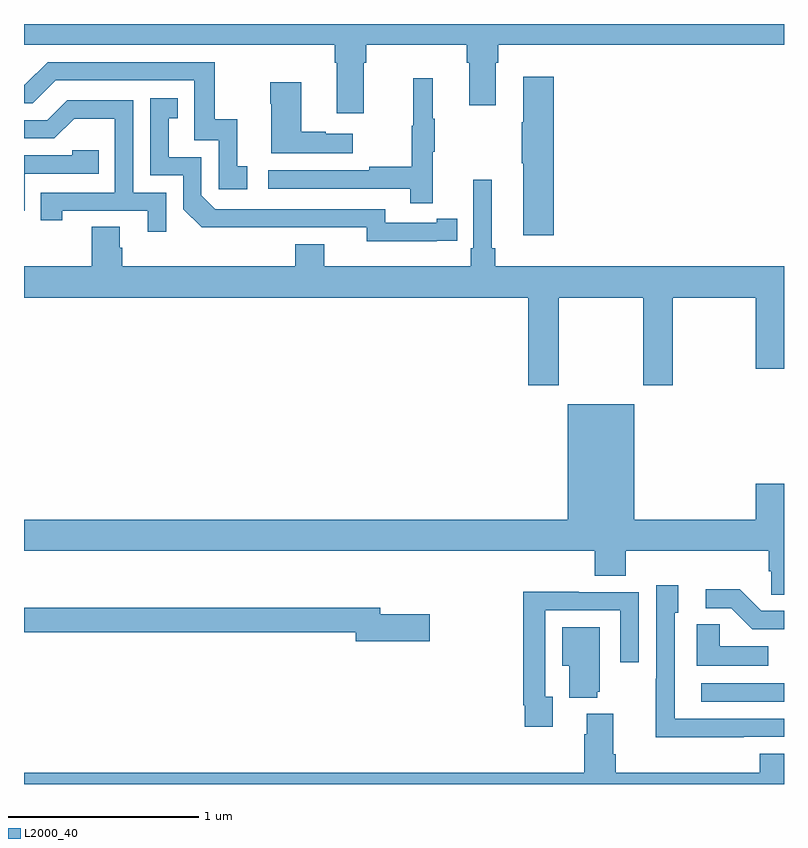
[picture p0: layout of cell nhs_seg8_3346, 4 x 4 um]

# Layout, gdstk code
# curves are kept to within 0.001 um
import gdstk
lib = gdstk.Library(unit=1e-6, precision=1e-09)
def R(c, l, rs):  # rectangles x0, y0, x1, y1
    for r in rs: c.add(gdstk.rectangle(r[:2], r[2:], *l))
def P(c, l, *ps):  # polygons
    for p in ps: c.add(gdstk.Polygon(p, *l))
L2000_40 = (2000, 40)

nhs_seg8_3346 = lib.new_cell('nhs_seg8_3346')
R(nhs_seg8_3346, L2000_40, [(320.565,1154.334,321,1154.43)])
P(nhs_seg8_3346, L2000_40, [(318.787,1157.696),(318.8,1157.696),(318.8,1157.792),(319.331,1157.792),(319.331,1157.696),(319.343,1157.696),(319.343,1157.472),(319.483,1157.472),(319.483,1157.696),(319.496,1157.696),(319.496,1157.792),(321,1157.792),(321,1157.9),(317,1157.9),(317,1157.792),(318.635,1157.792),(318.635,1157.696),(318.647,1157.696),(318.647,1157.43),(318.787,1157.43)],
  [(318.175,1157.151),(318.122,1157.151),(318.122,1157.398),(318.004,1157.398),(318.004,1157.7),(317.124,1157.7),(317.004,1157.58),(317,1157.58),(317,1157.484),(317.046,1157.484),(317.166,1157.604),(317.895,1157.604),(317.895,1157.289),(318.024,1157.289),(318.024,1157.031),(318.175,1157.031)],
  [(319.787,1157.623),(319.628,1157.623),(319.628,1157.384),(319.621,1157.384),(319.621,1157.167),(319.628,1157.167),(319.628,1156.788),(319.787,1156.788)],
  [(319.151,1157.227),(319.162,1157.227),(319.162,1157.401),(319.151,1157.401),(319.151,1157.614),(319.048,1157.614),(319.048,1157.364),(319.041,1157.364),(319.041,1157.15),(318.817,1157.15),(318.817,1157.13),(318.285,1157.13),(318.285,1157.034),(319.033,1157.034),(319.033,1156.956),(319.151,1156.956)],
  [(318.73,1157.323),(318.587,1157.323),(318.587,1157.333),(318.46,1157.333),(318.46,1157.593),(318.295,1157.593),(318.295,1157.48),(318.302,1157.48),(318.302,1157.219),(318.73,1157.219)],
  [(319.172,1156.758),(319.28,1156.758),(319.28,1156.874),(319.172,1156.874),(319.172,1156.854),(318.9,1156.854),(318.9,1156.926),(318.006,1156.926),(317.934,1156.998),(317.934,1157.199),(317.761,1157.199),(317.761,1157.403),(317.81,1157.403),(317.81,1157.509),(317.664,1157.509),(317.664,1157.103),(317.838,1157.103),(317.838,1156.926),(317.936,1156.829),(318.804,1156.83),(318.804,1156.757)],
  [(317.748,1157.013),(317.574,1157.013),(317.574,1157.499),(317.228,1157.499),(317.123,1157.394),(317,1157.394),(317,1157.298),(317.16,1157.298),(317.264,1157.402),(317.478,1157.402),(317.478,1157.013),(317.089,1157.013),(317.089,1156.866),(317.2,1156.866),(317.2,1156.917),(317.651,1156.917),(317.651,1156.806),(317.748,1156.806)],
  [(317.004,1157.112),(317.393,1157.112),(317.393,1157.235),(317.253,1157.235),(317.253,1157.208),(317,1157.208),(317,1156.917),(317.004,1156.917)],
  [(319.815,1156.46),(320.26,1156.46),(320.26,1155.999),(320.415,1155.999),(320.415,1156.46),(320.852,1156.46),(320.852,1156.086),(321,1156.086),(321,1156.624),(319.481,1156.624),(319.481,1156.72),(319.462,1156.72),(319.462,1157.08),(319.365,1157.08),(319.365,1156.72),(319.352,1156.72),(319.352,1156.624),(318.58,1156.624),(318.58,1156.741),(318.428,1156.741),(318.428,1156.624),(317.516,1156.624),(317.516,1156.722),(317.503,1156.722),(317.503,1156.832),(317.356,1156.832),(317.356,1156.624),(317,1156.624),(317,1156.46),(319.655,1156.46),(319.655,1155.999),(319.815,1155.999)],
  [(321,1155.481),(320.852,1155.481),(320.852,1155.292),(320.212,1155.292),(320.212,1155.898),(319.862,1155.898),(319.862,1155.292),(317,1155.292),(317,1155.128),(320.003,1155.128),(320.003,1154.995),(320.168,1154.995),(320.168,1155.128),(320.921,1155.128),(320.921,1155.019),(320.934,1155.019),(320.934,1154.896),(321,1154.896)],
  [(320.789,1154.148),(321,1154.148),(321,1154.244),(320.424,1154.244),(320.424,1154.802),(320.443,1154.802),(320.443,1154.947),(320.328,1154.947),(320.328,1154.453),(320.326,1154.453),(320.326,1154.147),(320.789,1154.147)],
  [(321,1154.811),(320.88,1154.811),(320.767,1154.924),(320.589,1154.924),(320.589,1154.826),(320.723,1154.826),(320.834,1154.715),(321,1154.715)],
  [(319.783,1154.358),(319.743,1154.358),(319.743,1154.814),(320.139,1154.814),(320.139,1154.541),(320.235,1154.541),(320.235,1154.91),(319.919,1154.91),(319.919,1154.912),(319.627,1154.912),(319.627,1154.314),(319.635,1154.314),(319.635,1154.202),(319.783,1154.202)],
  [(319.135,1154.793),(318.874,1154.793),(318.874,1154.827),(317,1154.827),(317,1154.698),(318.746,1154.698),(318.746,1154.651),(319.135,1154.651)],
  [(320.918,1154.626),(320.661,1154.626),(320.661,1154.741),(320.54,1154.741),(320.54,1154.522),(320.918,1154.522)],
  [(320.018,1154.385),(320.029,1154.385),(320.029,1154.725),(319.832,1154.725),(319.832,1154.522),(319.871,1154.522),(319.871,1154.354),(320.018,1154.354)],
  [(321,1154.059),(320.873,1154.059),(320.873,1153.96),(320.114,1153.96),(320.114,1154.056),(320.101,1154.056),(320.101,1154.269),(319.961,1154.269),(319.961,1154.162),(319.949,1154.162),(319.949,1153.96),(317,1153.96),(317,1153.9),(321,1153.9)])

lib.write_gds('nhs_seg8_3346.gds')
